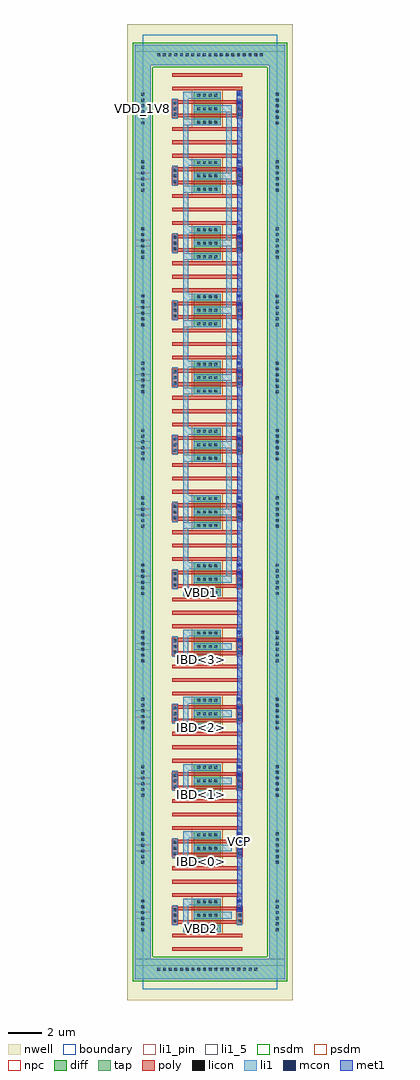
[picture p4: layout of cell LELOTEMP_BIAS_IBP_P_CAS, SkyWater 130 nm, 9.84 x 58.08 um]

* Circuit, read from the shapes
.subckt LELOTEMP_BIAS_IBP_P_CAS IBD<0> IBD<1> IBD<2> IBD<3> IBP_1U<0> IBP_1U<1> IBP_1U<2> IBP_1U<3> VBD1 VBD2 VCP VD1 VDD_1V8 VR1
XM1 VR1 VCP VBD2 VDD_1V8 sky130_fd_pr__pfet_01v8 w=1.6 l=0.22 m=2
XM2 IBP_1U<0> VCP IBD<0> VDD_1V8 sky130_fd_pr__pfet_01v8 w=1.6 l=0.22 m=2
XM3 IBP_1U<1> VCP IBD<1> VDD_1V8 sky130_fd_pr__pfet_01v8 w=1.6 l=0.22 m=2
XM4 IBP_1U<2> VCP IBD<2> VDD_1V8 sky130_fd_pr__pfet_01v8 w=1.6 l=0.22 m=2
XM5 IBP_1U<3> VCP IBD<3> VDD_1V8 sky130_fd_pr__pfet_01v8 w=1.6 l=0.22 m=2
XM6 VD1 VCP VBD1 VDD_1V8 sky130_fd_pr__pfet_01v8 w=1.6 l=0.22 m=16
.ends

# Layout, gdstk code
import gdstk
lib = gdstk.Library(unit=1e-6, precision=1e-09)
def R(c, l, rs):  # rectangles x0, y0, x1, y1
    for r in rs: c.add(gdstk.rectangle(r[:2], r[2:], *l))
def A(c, l, x, y, w, h, nx, ny, dx, dy):  # array of equal rectangles
    R(c, l, [(x+i*dx, y+j*dy, x+i*dx+w, y+j*dy+h) for i in range(nx) for j in range(ny)])
nwell = (64, 20)
diff = (65, 20)
tap = (65, 44)
poly = (66, 20)
licon = (66, 44)
li1_5 = (67, 5)
li1_pin = (67, 16)
li1 = (67, 20)
mcon = (67, 44)
met1 = (68, 20)
nsdm = (93, 44)
psdm = (94, 20)
npc = (95, 20)
boundary = (235, 4)

reyatr_pch_4c1f2 = lib.new_cell('REYATR_PCH_4C1F2')
R(reyatr_pch_4c1f2, nwell, [(-0.92,-0.64,8.92,4.64)])
R(reyatr_pch_4c1f2, diff, [(3.04,1,4.64,3)])
R(reyatr_pch_4c1f2, tap, [(-0.48,-0.2,0.48,4.2), (7.52,-0.2,8.48,4.2)])
A(reyatr_pch_4c1f2, poly, 1.76, -0.11, 4.16, 0.22, 1, 6, 0, 0.8)
R(reyatr_pch_4c1f2, poly, [(1.76,1.4,2.08,1.49), (5.6,1.4,5.92,1.49), (1.76,1.71,2.08,2.29), (5.6,1.71,5.92,2.29), (1.76,2.51,2.08,2.6), (5.6,2.51,5.92,2.6)])
A(reyatr_pch_4c1f2, licon, -0.085, 1.065, 0.17, 0.17, 1, 6, 0, 0.34)
A(reyatr_pch_4c1f2, licon, 7.915, 1.065, 0.17, 0.17, 1, 6, 0, 0.34)
A(reyatr_pch_4c1f2, licon, 3.245, 1.115, 0.17, 0.17, 4, 3, 0.34, 0.8)
A(reyatr_pch_4c1f2, licon, 1.835, 1.575, 0.17, 0.17, 1, 3, 0, 0.34)
A(reyatr_pch_4c1f2, licon, 5.675, 1.575, 0.17, 0.17, 1, 3, 0, 0.34)
R(reyatr_pch_4c1f2, li1_pin, [(2.4,1,4.64,1.4), (-0.48,1.8,0.48,2.2), (3.04,1.8,5.28,2.2), (5.6,2.2,5.92,2.6)])
R(reyatr_pch_4c1f2, li1, [(-0.48,-0.2,0.48,4.2), (7.52,-0.2,8.48,4.2), (2.4,1,4.64,1.4), (1.76,1.4,2.08,2.6), (2.4,1.4,2.72,2.6), (5.6,1.4,5.92,2.6), (3.04,1.8,5.28,2.2), (2.4,2.6,4.64,3)])
R(reyatr_pch_4c1f2, nsdm, [(-0.605,-0.325,0.605,4.325), (7.395,-0.325,8.605,4.325)])
R(reyatr_pch_4c1f2, psdm, [(2.915,0.875,4.765,3.125)])
R(reyatr_pch_4c1f2, npc, [(1.735,1.475,2.105,2.525), (5.575,1.475,5.945,2.525)])
R(reyatr_pch_4c1f2, boundary, [(0,0,8,4)])
reyatr_pch_4c1f2.add(gdstk.Label('D', (4.16,2), layer=67, texttype=5))
reyatr_pch_4c1f2.add(gdstk.Label('G', (5.76,2.4), layer=67, texttype=5))
reyatr_pch_4c1f2.add(gdstk.Label('S', (3.52,1.2), layer=67, texttype=5))
reyatr_pch_4c1f2.add(gdstk.Label('B', (0,2), layer=67, texttype=5))

reyatr_pch_4ctaptop = lib.new_cell('REYATR_PCH_4CTAPTOP')
R(reyatr_pch_4ctaptop, nwell, [(-0.92,-0.64,8.92,3.04)])
R(reyatr_pch_4ctaptop, tap, [(-0.48,-0.2,0.48,0.6), (7.52,-0.2,8.48,0.6), (-0.48,0.6,8.48,1.8)])
A(reyatr_pch_4ctaptop, licon, 0.855, 1.115, 0.17, 0.17, 19, 1, 0.34, 0)
R(reyatr_pch_4ctaptop, li1_5, [(-0.48,1.4,8.48,1.8)])
R(reyatr_pch_4ctaptop, li1, [(-0.48,-0.2,0.48,0.6), (7.52,-0.2,8.48,0.6), (-0.48,0.6,8.48,1.8)])
R(reyatr_pch_4ctaptop, nsdm, [(-0.605,-0.325,0.605,0.475), (7.395,-0.325,8.605,0.475), (-0.605,0.475,8.605,1.925)])
R(reyatr_pch_4ctaptop, boundary, [(0,0,8,2.4)])
reyatr_pch_4ctaptop.add(gdstk.Label('B', (4,1.6), layer=67, texttype=5))

reyatr_pch_4ctapbot = lib.new_cell('REYATR_PCH_4CTAPBOT')
R(reyatr_pch_4ctapbot, nwell, [(-0.92,-0.64,8.92,3.04)])
R(reyatr_pch_4ctapbot, tap, [(-0.48,0.6,8.48,1.8), (-0.48,1.8,0.48,2.6), (7.52,1.8,8.48,2.6)])
A(reyatr_pch_4ctapbot, licon, 0.865, 1.115, 0.17, 0.17, 18, 1, 0.34, 0)
R(reyatr_pch_4ctapbot, li1_5, [(-0.48,1.4,8.48,1.8)])
R(reyatr_pch_4ctapbot, li1, [(-0.48,0.6,8.48,1.8), (-0.48,1.8,0.48,2.6), (7.52,1.8,8.48,2.6)])
R(reyatr_pch_4ctapbot, nsdm, [(-0.605,0.475,8.605,1.925), (-0.605,1.925,0.605,2.725), (7.395,1.925,8.605,2.725)])
R(reyatr_pch_4ctapbot, boundary, [(0,0,8,2.4)])
reyatr_pch_4ctapbot.add(gdstk.Label('B', (4,1.6), layer=67, texttype=5))

lelotemp_bias_ibp_p_cas = lib.new_cell('LELOTEMP_BIAS_IBP_P_CAS')
A(lelotemp_bias_ibp_p_cas, li1_pin, 2.4, 3.4, 2.24, 0.4, 1, 6, 0, 4)
A(lelotemp_bias_ibp_p_cas, li1_pin, 3.04, 4.2, 2.24, 0.4, 1, 6, 0, 4)
R(lelotemp_bias_ibp_p_cas, li1_pin, [(5.6,8.6,5.92,9), (-0.48,52.2,0.48,52.6)])
A(lelotemp_bias_ibp_p_cas, li1, 2.4, 3.4, 2.24, 0.4, 1, 6, 0, 4)
A(lelotemp_bias_ibp_p_cas, li1, 3.04, 4.2, 2.24, 0.4, 1, 6, 0, 4)
A(lelotemp_bias_ibp_p_cas, li1, 5.61, 5.44, 0.3, 3.16, 1, 12, 0, 4)
A(lelotemp_bias_ibp_p_cas, li1, 5.59, 12.6, 0.32, 0.84, 1, 11, 0, 4)
R(lelotemp_bias_ibp_p_cas, li1, [(5.59,4.6,5.91,5.44), (5.59,8.6,5.92,9), (5.59,9,5.91,9.44), (2.4,23.8,2.7,51.8), (4.98,24.6,5.28,52.4), (-0.48,52.2,0.48,52.6)])
R(lelotemp_bias_ibp_p_cas, mcon, [(5.665,4.705,5.835,4.875), (5.665,5.165,5.835,5.335), (5.665,8.705,5.835,8.875), (5.665,9.165,5.835,9.335), (5.665,12.705,5.835,12.875), (5.665,13.165,5.835,13.335), (5.665,16.705,5.835,16.875), (5.665,17.165,5.835,17.335), (5.665,20.705,5.835,20.875), (5.665,21.165,5.835,21.335), (5.665,24.705,5.835,24.875), (5.665,25.165,5.835,25.335), (5.665,28.705,5.835,28.875), (5.665,29.165,5.835,29.335), (5.665,32.705,5.835,32.875), (5.665,33.165,5.835,33.335), (5.665,36.705,5.835,36.875), (5.665,37.165,5.835,37.335), (5.665,40.705,5.835,40.875), (5.665,41.165,5.835,41.335), (5.665,44.705,5.835,44.875), (5.665,45.165,5.835,45.335), (5.665,48.705,5.835,48.875), (5.665,49.165,5.835,49.335), (5.665,52.705,5.835,52.875), (5.665,53.165,5.835,53.335)])
A(lelotemp_bias_ibp_p_cas, met1, 5.59, 4.6, 0.34, 0.88, 1, 13, 0, 4)
A(lelotemp_bias_ibp_p_cas, met1, 5.61, 5.48, 0.3, 3.12, 1, 12, 0, 4)
R(lelotemp_bias_ibp_p_cas, boundary, [(0,0,8,56.8)])
lelotemp_bias_ibp_p_cas.add(gdstk.Reference(reyatr_pch_4c1f2, (0,2.4)))
lelotemp_bias_ibp_p_cas.add(gdstk.Reference(reyatr_pch_4c1f2, (0,6.4)))
lelotemp_bias_ibp_p_cas.add(gdstk.Reference(reyatr_pch_4c1f2, (0,10.4)))
lelotemp_bias_ibp_p_cas.add(gdstk.Reference(reyatr_pch_4c1f2, (0,14.4)))
lelotemp_bias_ibp_p_cas.add(gdstk.Reference(reyatr_pch_4c1f2, (0,18.4)))
lelotemp_bias_ibp_p_cas.add(gdstk.Reference(reyatr_pch_4c1f2, (0,22.4)))
lelotemp_bias_ibp_p_cas.add(gdstk.Reference(reyatr_pch_4c1f2, (0,26.4)))
lelotemp_bias_ibp_p_cas.add(gdstk.Reference(reyatr_pch_4c1f2, (0,30.4)))
lelotemp_bias_ibp_p_cas.add(gdstk.Reference(reyatr_pch_4c1f2, (0,34.4)))
lelotemp_bias_ibp_p_cas.add(gdstk.Reference(reyatr_pch_4c1f2, (0,38.4)))
lelotemp_bias_ibp_p_cas.add(gdstk.Reference(reyatr_pch_4c1f2, (0,42.4)))
lelotemp_bias_ibp_p_cas.add(gdstk.Reference(reyatr_pch_4c1f2, (0,46.4)))
lelotemp_bias_ibp_p_cas.add(gdstk.Reference(reyatr_pch_4c1f2, (0,50.4)))
lelotemp_bias_ibp_p_cas.add(gdstk.Reference(reyatr_pch_4ctaptop, (0,54.4)))
lelotemp_bias_ibp_p_cas.add(gdstk.Reference(reyatr_pch_4ctapbot, (0,0)))
lelotemp_bias_ibp_p_cas.add(gdstk.Label('IBD<0>', (3.52,7.6), layer=67, texttype=5))
lelotemp_bias_ibp_p_cas.add(gdstk.Label('IBD<1>', (3.52,11.6), layer=67, texttype=5))
lelotemp_bias_ibp_p_cas.add(gdstk.Label('IBD<2>', (3.52,15.6), layer=67, texttype=5))
lelotemp_bias_ibp_p_cas.add(gdstk.Label('IBD<3>', (3.52,19.6), layer=67, texttype=5))
lelotemp_bias_ibp_p_cas.add(gdstk.Label('IBP_1U<0>', (4.16,8.4), layer=67, texttype=5))
lelotemp_bias_ibp_p_cas.add(gdstk.Label('IBP_1U<1>', (4.16,12.4), layer=67, texttype=5))
lelotemp_bias_ibp_p_cas.add(gdstk.Label('IBP_1U<2>', (4.16,16.4), layer=67, texttype=5))
lelotemp_bias_ibp_p_cas.add(gdstk.Label('IBP_1U<3>', (4.16,20.4), layer=67, texttype=5))
lelotemp_bias_ibp_p_cas.add(gdstk.Label('VBD1', (3.52,23.6), layer=67, texttype=5))
lelotemp_bias_ibp_p_cas.add(gdstk.Label('VBD2', (3.52,3.6), layer=67, texttype=5))
lelotemp_bias_ibp_p_cas.add(gdstk.Label('VCP', (5.76,8.8), layer=67, texttype=5))
lelotemp_bias_ibp_p_cas.add(gdstk.Label('VD1', (4.16,24.4), layer=67, texttype=5))
lelotemp_bias_ibp_p_cas.add(gdstk.Label('VDD_1V8', (0,52.4), layer=67, texttype=5))
lelotemp_bias_ibp_p_cas.add(gdstk.Label('VR1', (4.16,4.4), layer=67, texttype=5))

lib.write_gds('LELOTEMP_BIAS_IBP_P_CAS.gds')
